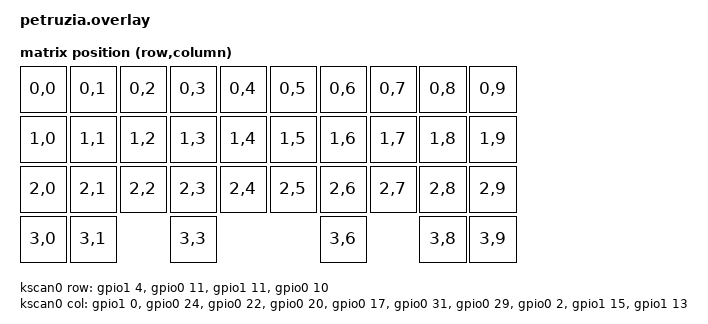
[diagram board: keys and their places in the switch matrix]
#include <dt-bindings/zmk/matrix_transform.h>
#include <zephyr/dt-bindings/gpio/gpio.h>
#include <physical_layouts.dtsi>

/ {
    chosen {
        zmk,kscan = &kscan0;
        zmk,physical-layout = &petruzia_layout;
    };

    kscan0: kscan {
        compatible = "zmk,kscan-gpio-matrix";
        diode-direction = "col2row";

        col-gpios =
            <&gpio1 0  GPIO_ACTIVE_HIGH>,
            <&gpio0 24 GPIO_ACTIVE_HIGH>,
            <&gpio0 22 GPIO_ACTIVE_HIGH>,
            <&gpio0 20 GPIO_ACTIVE_HIGH>,
            <&gpio0 17 GPIO_ACTIVE_HIGH>,
            <&gpio0 31 GPIO_ACTIVE_HIGH>,
            <&gpio0 29 GPIO_ACTIVE_HIGH>,
            <&gpio0 2  GPIO_ACTIVE_HIGH>,
            <&gpio1 15 GPIO_ACTIVE_HIGH>,
            <&gpio1 13 GPIO_ACTIVE_HIGH>;

        row-gpios =
            <&gpio1 4  (GPIO_PULL_DOWN | GPIO_ACTIVE_HIGH)>,
            <&gpio0 11 (GPIO_PULL_DOWN | GPIO_ACTIVE_HIGH)>,
            <&gpio1 11 (GPIO_PULL_DOWN | GPIO_ACTIVE_HIGH)>,
            <&gpio0 10 (GPIO_PULL_DOWN | GPIO_ACTIVE_HIGH)>;
    };

    default_transform: matrix_transform {
        compatible = "zmk,matrix-transform";
        columns = <10>;
        rows = <4>;
        map = <
            RC(0,0) RC(0,1) RC(0,2) RC(0,3) RC(0,4)
            RC(0,5) RC(0,6) RC(0,7) RC(0,8) RC(0,9)
            RC(1,0) RC(1,1) RC(1,2) RC(1,3) RC(1,4)
            RC(1,5) RC(1,6) RC(1,7) RC(1,8) RC(1,9)
            RC(2,0) RC(2,1) RC(2,2) RC(2,3) RC(2,4)
            RC(2,5) RC(2,6) RC(2,7) RC(2,8) RC(2,9)
            RC(3,0) RC(3,1) RC(3,3) RC(3,6) RC(3,8) RC(3,9)
        >;
    };

    petruzia_layout: petruzia_layout {
        compatible = "zmk,physical-layout";
        display-name = "PetruziaMini 40%";
        transform = <&default_transform>;
        kscan = <&kscan0>;
        keys //                       w    h    x    y   rot   rx   ry
             = <&key_physical_attrs  100  100    0    0    0    0    0>
             , <&key_physical_attrs  100  100  100    0    0    0    0>
             , <&key_physical_attrs  100  100  200    0    0    0    0>
             , <&key_physical_attrs  100  100  300    0    0    0    0>
             , <&key_physical_attrs  100  100  400    0    0    0    0>
             , <&key_physical_attrs  100  100  500    0    0    0    0>
             , <&key_physical_attrs  100  100  600    0    0    0    0>
             , <&key_physical_attrs  100  100  700    0    0    0    0>
             , <&key_physical_attrs  100  100  800    0    0    0    0>
             , <&key_physical_attrs  100  100  900    0    0    0    0>
             , <&key_physical_attrs  100  100    0  100    0    0    0>
             , <&key_physical_attrs  100  100  100  100    0    0    0>
             , <&key_physical_attrs  100  100  200  100    0    0    0>
             , <&key_physical_attrs  100  100  300  100    0    0    0>
             , <&key_physical_attrs  100  100  400  100    0    0    0>
             , <&key_physical_attrs  100  100  500  100    0    0    0>
             , <&key_physical_attrs  100  100  600  100    0    0    0>
             , <&key_physical_attrs  100  100  700  100    0    0    0>
             , <&key_physical_attrs  100  100  800  100    0    0    0>
             , <&key_physical_attrs  100  100  900  100    0    0    0>
             , <&key_physical_attrs  100  100    0  200    0    0    0>
             , <&key_physical_attrs  100  100  100  200    0    0    0>
             , <&key_physical_attrs  100  100  200  200    0    0    0>
             , <&key_physical_attrs  100  100  300  200    0    0    0>
             , <&key_physical_attrs  100  100  400  200    0    0    0>
             , <&key_physical_attrs  100  100  500  200    0    0    0>
             , <&key_physical_attrs  100  100  600  200    0    0    0>
             , <&key_physical_attrs  100  100  700  200    0    0    0>
             , <&key_physical_attrs  100  100  800  200    0    0    0>
             , <&key_physical_attrs  100  100  900  200    0    0    0>
             , <&key_physical_attrs  100  100    0  300    0    0    0>
             , <&key_physical_attrs  100  100  100  300    0    0    0>
             , <&key_physical_attrs  100  100  300  300    0    0    0>
             , <&key_physical_attrs  100  100  600  300    0    0    0>
             , <&key_physical_attrs  100  100  800  300    0    0    0>
             , <&key_physical_attrs  100  100  900  300    0    0    0>
             ;
    };
};
